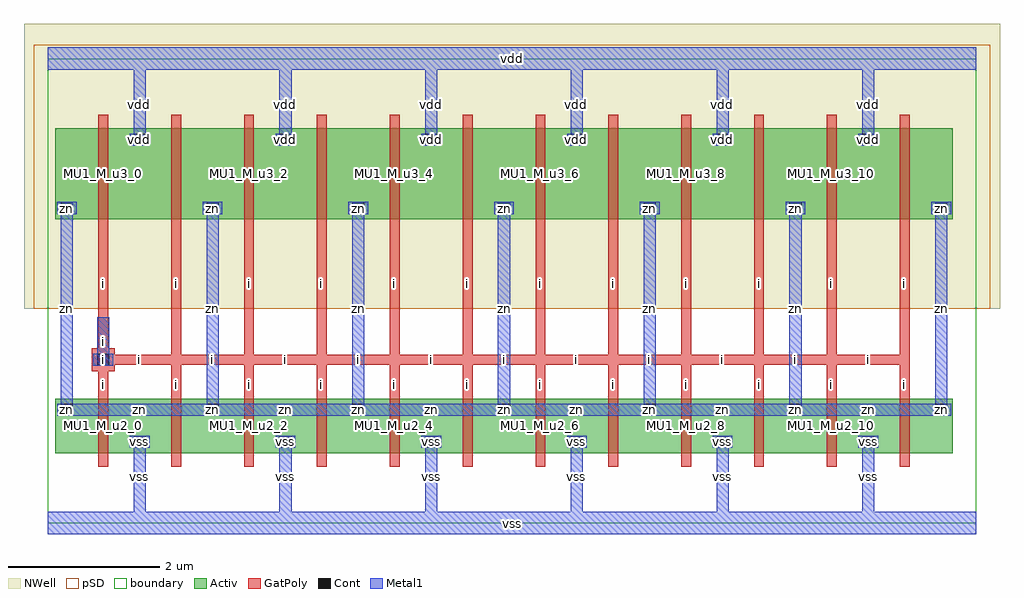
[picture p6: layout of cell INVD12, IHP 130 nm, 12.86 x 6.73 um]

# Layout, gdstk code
import gdstk
lib = gdstk.Library(unit=1e-6, precision=1e-09)
def R(c, l, rs):  # rectangles x0, y0, x1, y1
    for r in rs: c.add(gdstk.rectangle(r[:2], r[2:], *l))
def A(c, l, x, y, w, h, nx, ny, dx, dy):  # array of equal rectangles
    R(c, l, [(x+i*dx, y+j*dy, x+i*dx+w, y+j*dy+h) for i in range(nx) for j in range(ny)])
Activ = (1, 0)
GatPoly = (5, 0)
Cont = (6, 0)
Metal1 = (8, 0)
pSD = (14, 0)
NWell = (31, 0)
TEXT = (63, 0)
boundary = (189, 4)

invd12 = lib.new_cell('INVD12')
A(invd12, Activ, 0.105, 0.92, 1.26, 0.72, 12, 1, 0.96, 0)
A(invd12, Activ, 1.065, 0.92, 0.3, 0.3, 6, 2, 1.92, 3.98)
A(invd12, Activ, 0.105, 1.34, 0.3, 0.3, 7, 2, 1.92, 2.66)
A(invd12, Activ, 0.105, 4, 1.26, 1.2, 12, 1, 0.96, 0)
A(invd12, GatPoly, 0.67, 0.74, 0.13, 1.08, 12, 1, 0.96, 0)
A(invd12, GatPoly, 0.67, 1.425, 0.13, 0.79, 12, 1, 0.96, 0)
A(invd12, GatPoly, 0.67, 2.085, 1.09, 0.13, 11, 1, 0.96, 0)
A(invd12, GatPoly, 0.67, 2.085, 0.13, 2.13, 12, 1, 0.96, 0)
A(invd12, GatPoly, 0.67, 3.82, 0.13, 1.56, 12, 1, 0.96, 0)
R(invd12, GatPoly, [(0.585,2,0.885,2.3)])
A(invd12, Cont, 1.135, 0.99, 0.16, 0.16, 6, 2, 1.92, 3.98)
A(invd12, Cont, 0.175, 1.41, 0.16, 0.16, 7, 2, 1.92, 2.66)
R(invd12, Cont, [(0.655,2.07,0.815,2.23)])
A(invd12, Metal1, 1.135, 0.07, 0.16, 1.08, 6, 2, 1.92, 4.9)
A(invd12, Metal1, 1.085, 0.99, 0.26, 0.16, 6, 2, 1.92, 3.98)
A(invd12, Metal1, 0.125, 1.41, 0.26, 0.16, 7, 2, 1.92, 2.66)
A(invd12, Metal1, 0.175, 1.41, 2.08, 0.16, 6, 1, 1.92, 0)
A(invd12, Metal1, 0.175, 1.41, 0.16, 2.82, 7, 1, 1.92, 0)
R(invd12, Metal1, [(0,-0.15,12.24,0.15), (0.605,2.07,0.865,2.23), (0.655,2.07,0.815,2.71), (0,5.97,12.24,6.27)])
R(invd12, pSD, [(-0.18,2.82,12.42,5.94), (-0.18,5.94,12.42,6.3)])
R(invd12, NWell, [(-0.31,2.82,12.55,6.58)])
R(invd12, boundary, [(0,0,12.24,6.12)])
invd12.add(gdstk.FlexPath([(0.105,0.41),(11.925,0.41)], 0, ends="flush", simple_path=True, layer=63, datatype=0))  # TEXT
invd12.add(gdstk.FlexPath([(0.105,1.07),(11.925,1.07)], 0, ends="flush", simple_path=True, layer=63, datatype=0))  # TEXT
invd12.add(gdstk.FlexPath([(0.105,1.49),(11.925,1.49)], 0, ends="flush", simple_path=True, layer=63, datatype=0))  # TEXT
invd12.add(gdstk.FlexPath([(0.105,2.15),(11.925,2.15)], 0, ends="flush", simple_path=True, layer=63, datatype=0))  # TEXT
invd12.add(gdstk.FlexPath([(0.105,2.63),(11.925,2.63)], 0, ends="flush", simple_path=True, layer=63, datatype=0))  # TEXT
invd12.add(gdstk.FlexPath([(0.105,3.11),(11.925,3.11)], 0, ends="flush", simple_path=True, layer=63, datatype=0))  # TEXT
invd12.add(gdstk.FlexPath([(0.105,4.15),(11.925,4.15)], 0, ends="flush", simple_path=True, layer=63, datatype=0))  # TEXT
invd12.add(gdstk.FlexPath([(0.105,4.71),(11.925,4.71)], 0, ends="flush", simple_path=True, layer=63, datatype=0))  # TEXT
invd12.add(gdstk.FlexPath([(0.105,5.05),(11.925,5.05)], 0, ends="flush", simple_path=True, layer=63, datatype=0))  # TEXT
invd12.add(gdstk.FlexPath([(0.105,5.71),(11.925,5.71)], 0, ends="flush", simple_path=True, layer=63, datatype=0))  # TEXT
invd12.add(gdstk.FlexPath([(0.255,0.07),(0.255,6.05)], 0, ends="flush", simple_path=True, layer=63, datatype=0))  # TEXT
invd12.add(gdstk.FlexPath([(0.735,0.07),(0.735,6.05)], 0, ends="flush", simple_path=True, layer=63, datatype=0))  # TEXT
invd12.add(gdstk.FlexPath([(1.215,0.07),(1.215,6.05)], 0, ends="flush", simple_path=True, layer=63, datatype=0))  # TEXT
invd12.add(gdstk.FlexPath([(1.695,0.07),(1.695,6.05)], 0, ends="flush", simple_path=True, layer=63, datatype=0))  # TEXT
invd12.add(gdstk.FlexPath([(2.175,0.07),(2.175,6.05)], 0, ends="flush", simple_path=True, layer=63, datatype=0))  # TEXT
invd12.add(gdstk.FlexPath([(2.655,0.07),(2.655,6.05)], 0, ends="flush", simple_path=True, layer=63, datatype=0))  # TEXT
invd12.add(gdstk.FlexPath([(3.135,0.07),(3.135,6.05)], 0, ends="flush", simple_path=True, layer=63, datatype=0))  # TEXT
invd12.add(gdstk.FlexPath([(3.615,0.07),(3.615,6.05)], 0, ends="flush", simple_path=True, layer=63, datatype=0))  # TEXT
invd12.add(gdstk.FlexPath([(4.095,0.07),(4.095,6.05)], 0, ends="flush", simple_path=True, layer=63, datatype=0))  # TEXT
invd12.add(gdstk.FlexPath([(4.575,0.07),(4.575,6.05)], 0, ends="flush", simple_path=True, layer=63, datatype=0))  # TEXT
invd12.add(gdstk.FlexPath([(5.055,0.07),(5.055,6.05)], 0, ends="flush", simple_path=True, layer=63, datatype=0))  # TEXT
invd12.add(gdstk.FlexPath([(5.535,0.07),(5.535,6.05)], 0, ends="flush", simple_path=True, layer=63, datatype=0))  # TEXT
invd12.add(gdstk.FlexPath([(6.015,0.07),(6.015,6.05)], 0, ends="flush", simple_path=True, layer=63, datatype=0))  # TEXT
invd12.add(gdstk.FlexPath([(6.495,0.07),(6.495,6.05)], 0, ends="flush", simple_path=True, layer=63, datatype=0))  # TEXT
invd12.add(gdstk.FlexPath([(6.975,0.07),(6.975,6.05)], 0, ends="flush", simple_path=True, layer=63, datatype=0))  # TEXT
invd12.add(gdstk.FlexPath([(7.455,0.07),(7.455,6.05)], 0, ends="flush", simple_path=True, layer=63, datatype=0))  # TEXT
invd12.add(gdstk.FlexPath([(7.935,0.07),(7.935,6.05)], 0, ends="flush", simple_path=True, layer=63, datatype=0))  # TEXT
invd12.add(gdstk.FlexPath([(8.415,0.07),(8.415,6.05)], 0, ends="flush", simple_path=True, layer=63, datatype=0))  # TEXT
invd12.add(gdstk.FlexPath([(8.895,0.07),(8.895,6.05)], 0, ends="flush", simple_path=True, layer=63, datatype=0))  # TEXT
invd12.add(gdstk.FlexPath([(9.375,0.07),(9.375,6.05)], 0, ends="flush", simple_path=True, layer=63, datatype=0))  # TEXT
invd12.add(gdstk.FlexPath([(9.855,0.07),(9.855,6.05)], 0, ends="flush", simple_path=True, layer=63, datatype=0))  # TEXT
invd12.add(gdstk.FlexPath([(10.335,0.07),(10.335,6.05)], 0, ends="flush", simple_path=True, layer=63, datatype=0))  # TEXT
invd12.add(gdstk.FlexPath([(10.815,0.07),(10.815,6.05)], 0, ends="flush", simple_path=True, layer=63, datatype=0))  # TEXT
invd12.add(gdstk.FlexPath([(11.295,0.07),(11.295,6.05)], 0, ends="flush", simple_path=True, layer=63, datatype=0))  # TEXT
invd12.add(gdstk.FlexPath([(11.775,0.07),(11.775,6.05)], 0, ends="flush", simple_path=True, layer=63, datatype=0))  # TEXT
invd12.add(gdstk.Label('zn', (0.255,1.49), layer=6, texttype=0))
invd12.add(gdstk.Label('zn', (2.175,1.49), layer=6, texttype=0))
invd12.add(gdstk.Label('zn', (4.095,1.49), layer=6, texttype=0))
invd12.add(gdstk.Label('zn', (6.015,1.49), layer=6, texttype=0))
invd12.add(gdstk.Label('zn', (7.935,1.49), layer=6, texttype=0))
invd12.add(gdstk.Label('zn', (9.855,1.49), layer=6, texttype=0))
invd12.add(gdstk.Label('zn', (11.775,1.49), layer=6, texttype=0))
invd12.add(gdstk.Label('zn', (0.255,4.15), layer=6, texttype=0))
invd12.add(gdstk.Label('zn', (2.175,4.15), layer=6, texttype=0))
invd12.add(gdstk.Label('zn', (4.095,4.15), layer=6, texttype=0))
invd12.add(gdstk.Label('zn', (6.015,4.15), layer=6, texttype=0))
invd12.add(gdstk.Label('zn', (7.935,4.15), layer=6, texttype=0))
invd12.add(gdstk.Label('zn', (9.855,4.15), layer=6, texttype=0))
invd12.add(gdstk.Label('zn', (11.775,4.15), layer=6, texttype=0))
invd12.add(gdstk.Label('i', (0.735,2.15), layer=6, texttype=0))
invd12.add(gdstk.Label('vss', (1.215,1.07), layer=6, texttype=0))
invd12.add(gdstk.Label('vss', (3.135,1.07), layer=6, texttype=0))
invd12.add(gdstk.Label('vss', (5.055,1.07), layer=6, texttype=0))
invd12.add(gdstk.Label('vss', (6.975,1.07), layer=6, texttype=0))
invd12.add(gdstk.Label('vss', (8.895,1.07), layer=6, texttype=0))
invd12.add(gdstk.Label('vss', (10.815,1.07), layer=6, texttype=0))
invd12.add(gdstk.Label('vdd', (1.215,5.05), layer=6, texttype=0))
invd12.add(gdstk.Label('vdd', (3.135,5.05), layer=6, texttype=0))
invd12.add(gdstk.Label('vdd', (5.055,5.05), layer=6, texttype=0))
invd12.add(gdstk.Label('vdd', (6.975,5.05), layer=6, texttype=0))
invd12.add(gdstk.Label('vdd', (8.895,5.05), layer=6, texttype=0))
invd12.add(gdstk.Label('vdd', (10.815,5.05), layer=6, texttype=0))
invd12.add(gdstk.Label('vss', (1.215,1.07), layer=8, texttype=0))
invd12.add(gdstk.Label('vss', (1.215,0.61), layer=8, texttype=0))
invd12.add(gdstk.Label('vss', (3.135,1.07), layer=8, texttype=0))
invd12.add(gdstk.Label('vss', (3.135,0.61), layer=8, texttype=0))
invd12.add(gdstk.Label('vss', (5.055,1.07), layer=8, texttype=0))
invd12.add(gdstk.Label('vss', (5.055,0.61), layer=8, texttype=0))
invd12.add(gdstk.Label('vss', (6.975,1.07), layer=8, texttype=0))
invd12.add(gdstk.Label('vss', (6.975,0.61), layer=8, texttype=0))
invd12.add(gdstk.Label('vss', (8.895,1.07), layer=8, texttype=0))
invd12.add(gdstk.Label('vss', (8.895,0.61), layer=8, texttype=0))
invd12.add(gdstk.Label('vss', (10.815,1.07), layer=8, texttype=0))
invd12.add(gdstk.Label('vss', (10.815,0.61), layer=8, texttype=0))
invd12.add(gdstk.Label('vdd', (1.215,5.05), layer=8, texttype=0))
invd12.add(gdstk.Label('vdd', (1.215,5.51), layer=8, texttype=0))
invd12.add(gdstk.Label('vdd', (3.135,5.05), layer=8, texttype=0))
invd12.add(gdstk.Label('vdd', (3.135,5.51), layer=8, texttype=0))
invd12.add(gdstk.Label('vdd', (5.055,5.05), layer=8, texttype=0))
invd12.add(gdstk.Label('vdd', (5.055,5.51), layer=8, texttype=0))
invd12.add(gdstk.Label('vdd', (6.975,5.05), layer=8, texttype=0))
invd12.add(gdstk.Label('vdd', (6.975,5.51), layer=8, texttype=0))
invd12.add(gdstk.Label('vdd', (8.895,5.05), layer=8, texttype=0))
invd12.add(gdstk.Label('vdd', (8.895,5.51), layer=8, texttype=0))
invd12.add(gdstk.Label('vdd', (10.815,5.05), layer=8, texttype=0))
invd12.add(gdstk.Label('vdd', (10.815,5.51), layer=8, texttype=0))
invd12.add(gdstk.Label('zn', (0.255,1.49), layer=8, texttype=2))
invd12.add(gdstk.Label('zn', (2.175,1.49), layer=8, texttype=2))
invd12.add(gdstk.Label('zn', (4.095,1.49), layer=8, texttype=2))
invd12.add(gdstk.Label('zn', (6.015,1.49), layer=8, texttype=2))
invd12.add(gdstk.Label('zn', (7.935,1.49), layer=8, texttype=2))
invd12.add(gdstk.Label('zn', (9.855,1.49), layer=8, texttype=2))
invd12.add(gdstk.Label('zn', (11.775,1.49), layer=8, texttype=2))
invd12.add(gdstk.Label('zn', (0.255,4.15), layer=8, texttype=2))
invd12.add(gdstk.Label('zn', (2.175,4.15), layer=8, texttype=2))
invd12.add(gdstk.Label('zn', (4.095,4.15), layer=8, texttype=2))
invd12.add(gdstk.Label('zn', (6.015,4.15), layer=8, texttype=2))
invd12.add(gdstk.Label('zn', (7.935,4.15), layer=8, texttype=2))
invd12.add(gdstk.Label('zn', (9.855,4.15), layer=8, texttype=2))
invd12.add(gdstk.Label('zn', (11.775,4.15), layer=8, texttype=2))
invd12.add(gdstk.Label('zn', (1.215,1.49), layer=8, texttype=2))
invd12.add(gdstk.Label('zn', (3.135,1.49), layer=8, texttype=2))
invd12.add(gdstk.Label('zn', (5.055,1.49), layer=8, texttype=2))
invd12.add(gdstk.Label('zn', (6.975,1.49), layer=8, texttype=2))
invd12.add(gdstk.Label('zn', (8.895,1.49), layer=8, texttype=2))
invd12.add(gdstk.Label('zn', (10.815,1.49), layer=8, texttype=2))
invd12.add(gdstk.Label('zn', (0.255,2.82), layer=8, texttype=2))
invd12.add(gdstk.Label('zn', (2.175,2.82), layer=8, texttype=2))
invd12.add(gdstk.Label('zn', (4.095,2.82), layer=8, texttype=2))
invd12.add(gdstk.Label('zn', (6.015,2.82), layer=8, texttype=2))
invd12.add(gdstk.Label('zn', (7.935,2.82), layer=8, texttype=2))
invd12.add(gdstk.Label('zn', (9.855,2.82), layer=8, texttype=2))
invd12.add(gdstk.Label('zn', (11.775,2.82), layer=8, texttype=2))
invd12.add(gdstk.Label('i', (0.735,2.15), layer=8, texttype=2))
invd12.add(gdstk.Label('i', (0.735,2.39), layer=8, texttype=2))
invd12.add(gdstk.Label('vss', (6.12,0), layer=8, texttype=2))
invd12.add(gdstk.Label('vdd', (6.12,6.12), layer=8, texttype=2))
invd12.add(gdstk.Label('zn', (0.255,1.49), layer=8, texttype=2))
invd12.add(gdstk.Label('zn', (2.175,1.49), layer=8, texttype=2))
invd12.add(gdstk.Label('zn', (4.095,1.49), layer=8, texttype=2))
invd12.add(gdstk.Label('zn', (6.015,1.49), layer=8, texttype=2))
invd12.add(gdstk.Label('zn', (7.935,1.49), layer=8, texttype=2))
invd12.add(gdstk.Label('zn', (9.855,1.49), layer=8, texttype=2))
invd12.add(gdstk.Label('zn', (11.775,1.49), layer=8, texttype=2))
invd12.add(gdstk.Label('zn', (0.255,4.15), layer=8, texttype=2))
invd12.add(gdstk.Label('zn', (2.175,4.15), layer=8, texttype=2))
invd12.add(gdstk.Label('zn', (4.095,4.15), layer=8, texttype=2))
invd12.add(gdstk.Label('zn', (6.015,4.15), layer=8, texttype=2))
invd12.add(gdstk.Label('zn', (7.935,4.15), layer=8, texttype=2))
invd12.add(gdstk.Label('zn', (9.855,4.15), layer=8, texttype=2))
invd12.add(gdstk.Label('zn', (11.775,4.15), layer=8, texttype=2))
invd12.add(gdstk.Label('zn', (1.215,1.49), layer=8, texttype=2))
invd12.add(gdstk.Label('zn', (3.135,1.49), layer=8, texttype=2))
invd12.add(gdstk.Label('zn', (5.055,1.49), layer=8, texttype=2))
invd12.add(gdstk.Label('zn', (6.975,1.49), layer=8, texttype=2))
invd12.add(gdstk.Label('zn', (8.895,1.49), layer=8, texttype=2))
invd12.add(gdstk.Label('zn', (10.815,1.49), layer=8, texttype=2))
invd12.add(gdstk.Label('zn', (0.255,2.82), layer=8, texttype=2))
invd12.add(gdstk.Label('zn', (2.175,2.82), layer=8, texttype=2))
invd12.add(gdstk.Label('zn', (4.095,2.82), layer=8, texttype=2))
invd12.add(gdstk.Label('zn', (6.015,2.82), layer=8, texttype=2))
invd12.add(gdstk.Label('zn', (7.935,2.82), layer=8, texttype=2))
invd12.add(gdstk.Label('zn', (9.855,2.82), layer=8, texttype=2))
invd12.add(gdstk.Label('zn', (11.775,2.82), layer=8, texttype=2))
invd12.add(gdstk.Label('i', (0.735,2.15), layer=8, texttype=2))
invd12.add(gdstk.Label('i', (0.735,2.39), layer=8, texttype=2))
invd12.add(gdstk.Label('vss', (6.12,0), layer=8, texttype=2))
invd12.add(gdstk.Label('vdd', (6.12,6.12), layer=8, texttype=2))
invd12.add(gdstk.Label('MU1_M_u2_0', (0.735,1.28), layer=1, texttype=0))
invd12.add(gdstk.Label('MU1_M_u2_1', (1.695,1.28), layer=1, texttype=0))
invd12.add(gdstk.Label('MU1_M_u2_2', (2.655,1.28), layer=1, texttype=0))
invd12.add(gdstk.Label('MU1_M_u2_3', (3.615,1.28), layer=1, texttype=0))
invd12.add(gdstk.Label('MU1_M_u2_4', (4.575,1.28), layer=1, texttype=0))
invd12.add(gdstk.Label('MU1_M_u2_5', (5.535,1.28), layer=1, texttype=0))
invd12.add(gdstk.Label('MU1_M_u2_6', (6.495,1.28), layer=1, texttype=0))
invd12.add(gdstk.Label('MU1_M_u2_7', (7.455,1.28), layer=1, texttype=0))
invd12.add(gdstk.Label('MU1_M_u2_8', (8.415,1.28), layer=1, texttype=0))
invd12.add(gdstk.Label('MU1_M_u2_9', (9.375,1.28), layer=1, texttype=0))
invd12.add(gdstk.Label('MU1_M_u2_10', (10.335,1.28), layer=1, texttype=0))
invd12.add(gdstk.Label('MU1_M_u2_11', (11.295,1.28), layer=1, texttype=0))
invd12.add(gdstk.Label('MU1_M_u3_0', (0.735,4.6), layer=1, texttype=0))
invd12.add(gdstk.Label('MU1_M_u3_1', (1.695,4.6), layer=1, texttype=0))
invd12.add(gdstk.Label('MU1_M_u3_2', (2.655,4.6), layer=1, texttype=0))
invd12.add(gdstk.Label('MU1_M_u3_3', (3.615,4.6), layer=1, texttype=0))
invd12.add(gdstk.Label('MU1_M_u3_4', (4.575,4.6), layer=1, texttype=0))
invd12.add(gdstk.Label('MU1_M_u3_5', (5.535,4.6), layer=1, texttype=0))
invd12.add(gdstk.Label('MU1_M_u3_6', (6.495,4.6), layer=1, texttype=0))
invd12.add(gdstk.Label('MU1_M_u3_7', (7.455,4.6), layer=1, texttype=0))
invd12.add(gdstk.Label('MU1_M_u3_8', (8.415,4.6), layer=1, texttype=0))
invd12.add(gdstk.Label('MU1_M_u3_9', (9.375,4.6), layer=1, texttype=0))
invd12.add(gdstk.Label('MU1_M_u3_10', (10.335,4.6), layer=1, texttype=0))
invd12.add(gdstk.Label('MU1_M_u3_11', (11.295,4.6), layer=1, texttype=0))
invd12.add(gdstk.Label('zn', (0.255,1.49), layer=1, texttype=0))
invd12.add(gdstk.Label('zn', (2.175,1.49), layer=1, texttype=0))
invd12.add(gdstk.Label('zn', (4.095,1.49), layer=1, texttype=0))
invd12.add(gdstk.Label('zn', (6.015,1.49), layer=1, texttype=0))
invd12.add(gdstk.Label('zn', (7.935,1.49), layer=1, texttype=0))
invd12.add(gdstk.Label('zn', (9.855,1.49), layer=1, texttype=0))
invd12.add(gdstk.Label('zn', (11.775,1.49), layer=1, texttype=0))
invd12.add(gdstk.Label('zn', (0.255,4.15), layer=1, texttype=0))
invd12.add(gdstk.Label('zn', (2.175,4.15), layer=1, texttype=0))
invd12.add(gdstk.Label('zn', (4.095,4.15), layer=1, texttype=0))
invd12.add(gdstk.Label('zn', (6.015,4.15), layer=1, texttype=0))
invd12.add(gdstk.Label('zn', (7.935,4.15), layer=1, texttype=0))
invd12.add(gdstk.Label('zn', (9.855,4.15), layer=1, texttype=0))
invd12.add(gdstk.Label('zn', (11.775,4.15), layer=1, texttype=0))
invd12.add(gdstk.Label('vss', (1.215,1.07), layer=1, texttype=0))
invd12.add(gdstk.Label('vss', (3.135,1.07), layer=1, texttype=0))
invd12.add(gdstk.Label('vss', (5.055,1.07), layer=1, texttype=0))
invd12.add(gdstk.Label('vss', (6.975,1.07), layer=1, texttype=0))
invd12.add(gdstk.Label('vss', (8.895,1.07), layer=1, texttype=0))
invd12.add(gdstk.Label('vss', (10.815,1.07), layer=1, texttype=0))
invd12.add(gdstk.Label('vdd', (1.215,5.05), layer=1, texttype=0))
invd12.add(gdstk.Label('vdd', (3.135,5.05), layer=1, texttype=0))
invd12.add(gdstk.Label('vdd', (5.055,5.05), layer=1, texttype=0))
invd12.add(gdstk.Label('vdd', (6.975,5.05), layer=1, texttype=0))
invd12.add(gdstk.Label('vdd', (8.895,5.05), layer=1, texttype=0))
invd12.add(gdstk.Label('vdd', (10.815,5.05), layer=1, texttype=0))
invd12.add(gdstk.Label('zn', (0.255,1.49), layer=8, texttype=25))
invd12.add(gdstk.Label('zn', (2.175,1.49), layer=8, texttype=25))
invd12.add(gdstk.Label('zn', (4.095,1.49), layer=8, texttype=25))
invd12.add(gdstk.Label('zn', (6.015,1.49), layer=8, texttype=25))
invd12.add(gdstk.Label('zn', (7.935,1.49), layer=8, texttype=25))
invd12.add(gdstk.Label('zn', (9.855,1.49), layer=8, texttype=25))
invd12.add(gdstk.Label('zn', (11.775,1.49), layer=8, texttype=25))
invd12.add(gdstk.Label('zn', (0.255,4.15), layer=8, texttype=25))
invd12.add(gdstk.Label('zn', (2.175,4.15), layer=8, texttype=25))
invd12.add(gdstk.Label('zn', (4.095,4.15), layer=8, texttype=25))
invd12.add(gdstk.Label('zn', (6.015,4.15), layer=8, texttype=25))
invd12.add(gdstk.Label('zn', (7.935,4.15), layer=8, texttype=25))
invd12.add(gdstk.Label('zn', (9.855,4.15), layer=8, texttype=25))
invd12.add(gdstk.Label('zn', (11.775,4.15), layer=8, texttype=25))
invd12.add(gdstk.Label('zn', (1.215,1.49), layer=8, texttype=25))
invd12.add(gdstk.Label('zn', (3.135,1.49), layer=8, texttype=25))
invd12.add(gdstk.Label('zn', (5.055,1.49), layer=8, texttype=25))
invd12.add(gdstk.Label('zn', (6.975,1.49), layer=8, texttype=25))
invd12.add(gdstk.Label('zn', (8.895,1.49), layer=8, texttype=25))
invd12.add(gdstk.Label('zn', (10.815,1.49), layer=8, texttype=25))
invd12.add(gdstk.Label('zn', (0.255,2.82), layer=8, texttype=25))
invd12.add(gdstk.Label('zn', (2.175,2.82), layer=8, texttype=25))
invd12.add(gdstk.Label('zn', (4.095,2.82), layer=8, texttype=25))
invd12.add(gdstk.Label('zn', (6.015,2.82), layer=8, texttype=25))
invd12.add(gdstk.Label('zn', (7.935,2.82), layer=8, texttype=25))
invd12.add(gdstk.Label('zn', (9.855,2.82), layer=8, texttype=25))
invd12.add(gdstk.Label('zn', (11.775,2.82), layer=8, texttype=25))
invd12.add(gdstk.Label('i', (0.735,2.15), layer=8, texttype=25))
invd12.add(gdstk.Label('i', (0.735,2.39), layer=8, texttype=25))
invd12.add(gdstk.Label('vss', (6.12,0), layer=8, texttype=25))
invd12.add(gdstk.Label('vdd', (6.12,6.12), layer=8, texttype=25))
invd12.add(gdstk.Label('i', (0.735,1.82), layer=5, texttype=0))
invd12.add(gdstk.Label('i', (1.215,2.15), layer=5, texttype=0))
invd12.add(gdstk.Label('i', (1.695,1.82), layer=5, texttype=0))
invd12.add(gdstk.Label('i', (2.175,2.15), layer=5, texttype=0))
invd12.add(gdstk.Label('i', (2.655,1.82), layer=5, texttype=0))
invd12.add(gdstk.Label('i', (3.135,2.15), layer=5, texttype=0))
invd12.add(gdstk.Label('i', (3.615,1.82), layer=5, texttype=0))
invd12.add(gdstk.Label('i', (4.095,2.15), layer=5, texttype=0))
invd12.add(gdstk.Label('i', (4.575,1.82), layer=5, texttype=0))
invd12.add(gdstk.Label('i', (5.055,2.15), layer=5, texttype=0))
invd12.add(gdstk.Label('i', (5.535,1.82), layer=5, texttype=0))
invd12.add(gdstk.Label('i', (6.015,2.15), layer=5, texttype=0))
invd12.add(gdstk.Label('i', (6.495,1.82), layer=5, texttype=0))
invd12.add(gdstk.Label('i', (6.975,2.15), layer=5, texttype=0))
invd12.add(gdstk.Label('i', (7.455,1.82), layer=5, texttype=0))
invd12.add(gdstk.Label('i', (7.935,2.15), layer=5, texttype=0))
invd12.add(gdstk.Label('i', (8.415,1.82), layer=5, texttype=0))
invd12.add(gdstk.Label('i', (8.895,2.15), layer=5, texttype=0))
invd12.add(gdstk.Label('i', (9.375,1.82), layer=5, texttype=0))
invd12.add(gdstk.Label('i', (9.855,2.15), layer=5, texttype=0))
invd12.add(gdstk.Label('i', (10.335,1.82), layer=5, texttype=0))
invd12.add(gdstk.Label('i', (10.815,2.15), layer=5, texttype=0))
invd12.add(gdstk.Label('i', (11.295,1.82), layer=5, texttype=0))
invd12.add(gdstk.Label('i', (0.735,3.15), layer=5, texttype=0))
invd12.add(gdstk.Label('i', (1.695,3.15), layer=5, texttype=0))
invd12.add(gdstk.Label('i', (2.655,3.15), layer=5, texttype=0))
invd12.add(gdstk.Label('i', (3.615,3.15), layer=5, texttype=0))
invd12.add(gdstk.Label('i', (4.575,3.15), layer=5, texttype=0))
invd12.add(gdstk.Label('i', (5.535,3.15), layer=5, texttype=0))
invd12.add(gdstk.Label('i', (6.495,3.15), layer=5, texttype=0))
invd12.add(gdstk.Label('i', (7.455,3.15), layer=5, texttype=0))
invd12.add(gdstk.Label('i', (8.415,3.15), layer=5, texttype=0))
invd12.add(gdstk.Label('i', (9.375,3.15), layer=5, texttype=0))
invd12.add(gdstk.Label('i', (10.335,3.15), layer=5, texttype=0))
invd12.add(gdstk.Label('i', (11.295,3.15), layer=5, texttype=0))
invd12.add(gdstk.Label('i', (0.735,2.15), layer=5, texttype=0))

lib.write_gds('INVD12.gds')
